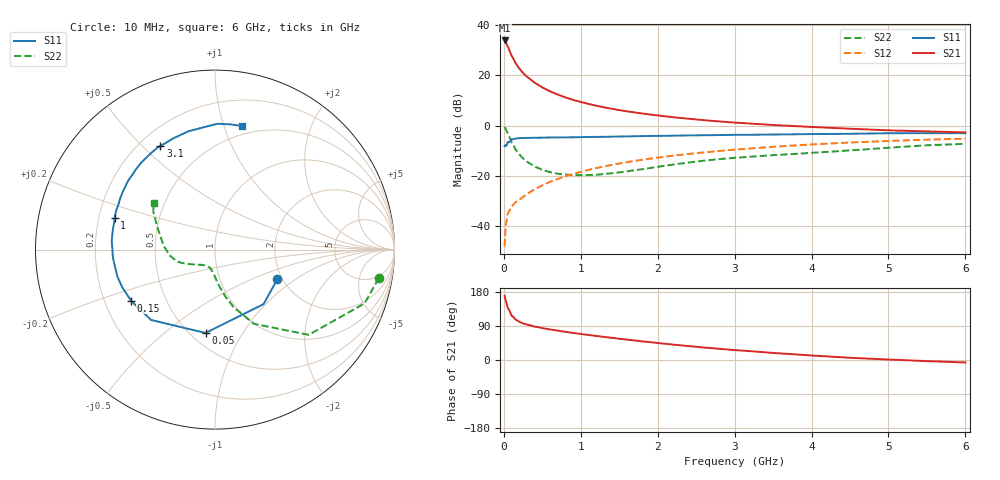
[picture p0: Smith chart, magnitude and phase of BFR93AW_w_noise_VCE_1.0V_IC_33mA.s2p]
! (c) 2017  Infineon Technologies AG, Munich
! Infineon Technologies  Discrete & RF Semiconductors
! BFR93AW
! VCE =  1.0 V,  IC =  33 mA
! Common Emitter S-Parameters:  Jan 2017
# GHz  S  MA  R  50
!  f  S11  S21  S12  S22
! GHz  MAG  ANG  MAG  ANG  MAG  ANG  MAG  ANG
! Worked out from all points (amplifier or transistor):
!   77 points, 10 MHz to 6 GHz, reference 50 ohm
!   highest |S21| = 34.0 dB at 10 MHz (marker M1)
!   |S21| within 3 dB of that: start of sweep to 59.04 MHz
!   unconditionally stable (mu >= 1): 384.9 MHz to 2.757 GHz
!   at 130 MHz: K = 0.62, MSG = 28.8 dB, |S12| = -31.3 dB
!   at 2.2 GHz: K = 1.03, MAG = 6.6 dB, |S12| = -12.1 dB
!   at 6 GHz: K = 0.97, MSG = 1.2 dB, |S12| = -5.2 dB
!   lowest NFmin = 1.88 dB at 450 MHz
!   S11 on the Smith chart (normalised r, x): 10 MHz: 1.88, -0.73; 50 MHz: 0.59, -0.70; 150 MHz: 0.31, -0.25; 1 GHz: 0.27, +0.14; 3.1 GHz: 0.28, +0.57; 6 GHz: 0.42, +1.15
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0.01  0.3846 -25.6  49.91 169.7  0.0039 77.6  0.9264 -9.9
0.02  0.4068 -48.4  48.22 160.2  0.0081 76.0  0.8853 -19.8
0.05  0.4673 -96.5  37.92 137.4  0.017 59.6  0.7055 -42.3
0.1  0.5295 -132.2  24.95 117.3  0.0239 55.2  0.4676 -62.2
0.15  0.5478 -148.7  17.88 107.3  0.0292 54.6  0.3392 -72.0
0.2  0.5579 -158.1  13.79 101.1  0.0327 57.6  0.2662 -77.6
0.25  0.5641 -164.4  11.22 96.5  0.0377 58.7  0.2209 -81.6
0.3  0.5647 -169.2  9.41 93.4  0.0426 61.6  0.189 -85.1
0.4  0.5707 -175.6  7.153 88.2  0.0532 65.1  0.1517 -90.0
0.5  0.572 179.3  5.75 84.2  0.0637 66.2  0.1303 -94.6
0.6  0.5776 175.3  4.826 80.6  0.0749 67.6  0.1171 -99.1
0.7  0.5781 171.8  4.151 77.5  0.0854 68.2  0.109 -102.8
0.8  0.5801 168.5  3.649 74.3  0.0971 68.7  0.1047 -106.7
1  0.5855 162.7  2.953 68.7  0.1185 67.9  0.1019 -115.3
1.1  0.5905 160.0  2.701 66.1  0.1303 67.6  0.1028 -118.8
1.3  0.5939 154.8  2.31 61.0  0.1521 66.1  0.1077 -125.8
1.5  0.6025 150.3  2.03 56.2  0.1741 64.5  0.1162 -133.3
2.1  0.623 136.9  1.524 42.8  0.239 58.7  0.1577 -148.9
3.1  0.6524 117.8  1.119 24.8  0.3385 47.8  0.232 -166.2
4.1  0.6763 101.2  0.921 10.7  0.4266 36.1  0.2905 173.8
5.1  0.7008 87.7  0.793 0.4  0.4972 24.7  0.3686 153.8
6  0.7043 77.7  0.728 -6.6  0.5466 15.0  0.4311 142.6
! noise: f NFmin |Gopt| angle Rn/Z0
0.45  1.88  0.2  177  0.16
0.9  2.14  0.27  -173  0.16
1.9  3.19  0.51  -134  0.3
2.4  3.85  0.56  -124  0.58
